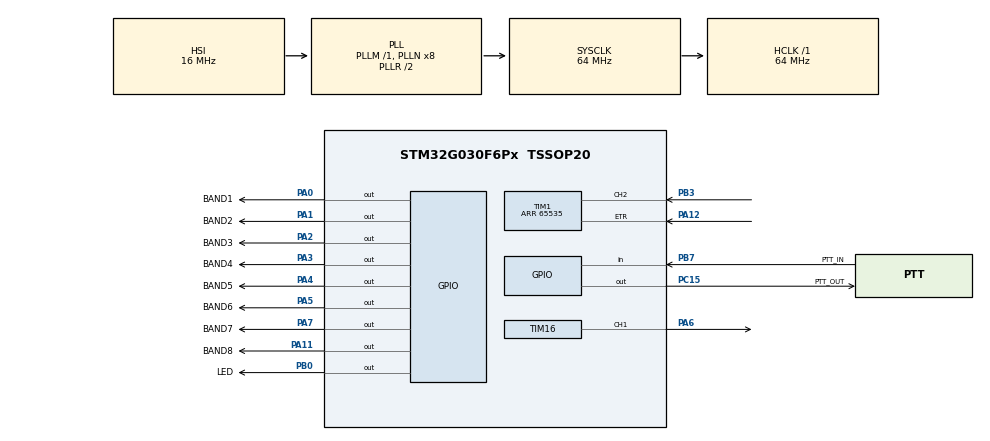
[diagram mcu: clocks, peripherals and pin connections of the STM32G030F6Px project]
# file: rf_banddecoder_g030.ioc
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Mcu.Family=STM32G0
Mcu.Name=STM32G030F6Px
Mcu.Package=TSSOP20
NVIC.TIM16_IRQn=true\:0\:0\:false\:false\:true\:true\:true\:true
NVIC.TIM17_IRQn=true\:0\:0\:false\:false\:true\:true\:true\:true
PA0.GPIO_Label=BAND1
PA0.Signal=GPIO_Output
PA1.GPIO_Label=BAND2
PA1.Signal=GPIO_Output
PA11\ [PA9].GPIO_Label=BAND8
PA11\ [PA9].Signal=GPIO_Output
PA12\ [PA10].Signal=S_TIM1_ETR
PA13.Mode=Serial_Wire
PA13.Signal=SYS_SWDIO
PA14-BOOT0.Mode=Serial_Wire
PA14-BOOT0.Signal=SYS_SWCLK
PA14-BOOT0__PA15.StandardMode=true
PA2.GPIO_Label=BAND3
PA2.Signal=GPIO_Output
PA3.GPIO_Label=BAND4
PA3.Signal=GPIO_Output
PA4.GPIO_Label=BAND5
PA4.Signal=GPIO_Output
PA5.GPIO_Label=BAND6
PA5.Signal=GPIO_Output
PA6.Signal=S_TIM16_CH1
PA7.GPIO_Label=BAND7
PA7.Signal=GPIO_Output
PB0.GPIO_Label=LED
PB0.Signal=GPIO_Output
PB0__PB1__PB2__PA8.StandardMode=true
PB3.Signal=S_TIM1_CH2
PB3__PB4__PB5__PB6.StandardMode=true
PB7.GPIO_Label=PTT_IN
PB7.GPIO_PuPd=GPIO_PULLUP
PB7.Signal=GPIO_Input
PB7__PB8.StandardMode=true
PC14-OSC32_IN\ (PC14).Mode=HSE-External-Clock-Source
PC14-OSC32_IN\ (PC14).Signal=RCC_OSC_IN
PC14-OSC32_IN\ (PC14)__PB9.StandardMode=true
PC15-OSC32_OUT\ (PC15).GPIO_Label=PTT_OUT
PC15-OSC32_OUT\ (PC15).Signal=GPIO_Output
ProjectManager.HeapSize=0x200
ProjectManager.StackSize=0x400
ProjectManager.TargetToolchain=STM32CubeIDE
RCC.ADCFreq_Value=64000000
RCC.AHBFreq_Value=64000000
RCC.CortexFreq_Value=64000000
RCC.EXTERNAL_CLOCK_VALUE=12288000
RCC.HCLKFreq_Value=64000000
RCC.HSE_VALUE=16000000
RCC.HSI_VALUE=16000000
RCC.LSE_VALUE=32768
RCC.SYSCLKFreq_VALUE=64000000
RCC.SYSCLKSource=RCC_SYSCLKSOURCE_PLLCLK
RCC.VCOOutputFreq_Value=128000000
SH.S_TIM16_CH1.0=TIM16_CH1,PWM Generation1 CH1
SH.S_TIM1_CH2.0=TIM1_CH2,TriggerSource_TI2FP2
SH.S_TIM1_ETR.0=TIM1_ETR,ClockSourceETR_Mode2
TIM1.Period=65535
TIM1.RepetitionCounter=0
TIM1.TIM_MasterOutputTrigger=TIM_TRGO_UPDATE
TIM1.TIM_MasterOutputTrigger2=TIM_TRGO2_RESET
TIM16.AutoReloadPreload=TIM_AUTORELOAD_PRELOAD_ENABLE
TIM16.Channel=TIM_CHANNEL_1
TIM16.OCIdleState_1=TIM_OCIDLESTATE_RESET
TIM16.OCPolarity_1=TIM_OCPOLARITY_HIGH
TIM16.Period=3
TIM16.Prescaler=63999
TIM16.Pulse=4
TIM17.AutoReloadPreload=TIM_AUTORELOAD_PRELOAD_ENABLE
TIM17.Period=499
TIM17.Prescaler=63999
VP_TIM16_VS_ClockSourceINT.Mode=Enable_Timer
VP_TIM17_VS_ClockSourceINT.Mode=Enable_Timer
VP_TIM1_VS_ControllerModeGated.Mode=Gated Mode
VP_TIM3_VS_ClockSourceINT.Mode=Internal
VP_TIM3_VS_ClockSourceITR.Mode=TriggerSource_ITR0
VP_TIM3_VS_ControllerModeGated.Mode=Gated Mode
board=custom

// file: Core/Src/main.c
/* USER CODE BEGIN Header */
/**
  ******************************************************************************
  * @file           : main.c
  * @brief          : Main program body
  ******************************************************************************
  * @attention
  *
  * Copyright (c) 2024 STMicroelectronics.
  * All rights reserved.
  *
  * This software is licensed under terms that can be found in the LICENSE file
  * in the root directory of this software component.
  * If no LICENSE file comes with this software, it is provided AS-IS.
  *
  ******************************************************************************
  */
/* USER CODE END Header */
#include "main.h"

/* USER CODE BEGIN Includes */
//#include "string.h"
#define samples 10

uint32_t freq = 0;
uint32_t freq_old1 = 0;
uint32_t freq_old2 = 0;
uint32_t freq_old3 = 0;
uint32_t current_freq = 0;
int count = 0;
int flag_band = 0;
int previous_flag_band = 0;
int flag_ptt = 0;

int raw[samples];
/* USER CODE END Includes */

TIM_HandleTypeDef htim1;
TIM_HandleTypeDef htim3;
TIM_HandleTypeDef htim16;

void SystemClock_Config(void);
static void MX_GPIO_Init(void);
static void MX_TIM1_Init(void);
static void MX_TIM3_Init(void);
static void MX_TIM16_Init(void);
static void MX_TIM17_Init(void);

/* USER CODE BEGIN 0 */

void SetBand() {
	if ((freq >= 9)||(freq <= 310)){
		if ((freq >= 9)&&(freq <= 29)) {flag_band=1; freq = 0; flag_ptt = 1;}
		if ((freq >= 30)&&(freq <= 45)) {flag_band=2; freq = 0; flag_ptt = 1;}
		if ((freq >= 65)&&(freq <= 75)) {flag_band=3; freq = 0; flag_ptt = 1;}
		if ((freq >= 90)&&(freq <= 110)) {flag_band=4; freq = 0; flag_ptt = 1;}
		if ((freq >= 130)&&(freq <=150)) {flag_band=5; freq = 0; flag_ptt = 1;}
		if ((freq >= 170)&&(freq <= 190)) {flag_band=6; freq = 0; flag_ptt = 1;}
		if ((freq >= 200)&&(freq <= 220)) {flag_band=7; freq = 0; flag_ptt = 1;}
		if ((freq >= 230)&&(freq <= 310)) {flag_band=8; freq = 0; flag_ptt = 1;}
		if ((freq >= 52)&&(freq <= 55)){ flag_band = 0; freq = 0; flag_ptt = 0;}
	}
	else { flag_band = 0; freq = 0; flag_ptt = 0;}

}

void ResetAllOuts(){
	LL_GPIO_ResetOutputPin(BAND1_GPIO_Port, BAND1_Pin);
	LL_GPIO_ResetOutputPin(BAND2_GPIO_Port, BAND2_Pin);
	LL_GPIO_ResetOutputPin(BAND3_GPIO_Port, BAND3_Pin);
	LL_GPIO_ResetOutputPin(BAND4_GPIO_Port, BAND4_Pin);
	LL_GPIO_ResetOutputPin(BAND5_GPIO_Port, BAND5_Pin);
	LL_GPIO_ResetOutputPin(BAND6_GPIO_Port, BAND6_Pin);
	LL_GPIO_ResetOutputPin(BAND7_GPIO_Port, BAND7_Pin);
	LL_GPIO_ResetOutputPin(BAND8_GPIO_Port, BAND8_Pin);
}

void TestOuts(){
	LL_GPIO_SetOutputPin(BAND1_GPIO_Port, BAND1_Pin);
	LL_mDelay(200);
	LL_GPIO_SetOutputPin(BAND2_GPIO_Port, BAND2_Pin);
	LL_mDelay(200);
	LL_GPIO_SetOutputPin(BAND3_GPIO_Port, BAND3_Pin);
	LL_mDelay(200);
	LL_GPIO_SetOutputPin(BAND4_GPIO_Port, BAND4_Pin);
	LL_mDelay(200);
	LL_GPIO_SetOutputPin(BAND5_GPIO_Port, BAND5_Pin);
	LL_mDelay(200);
	LL_GPIO_SetOutputPin(BAND6_GPIO_Port, BAND6_Pin);
	LL_mDelay(200);
	LL_GPIO_SetOutputPin(BAND7_GPIO_Port, BAND7_Pin);
	LL_mDelay(200);
	LL_GPIO_SetOutputPin(BAND8_GPIO_Port, BAND8_Pin);
	LL_mDelay(200);
	LL_GPIO_SetOutputPin(PTT_OUT_GPIO_Port, PTT_OUT_Pin);
	LL_mDelay(200);
	LL_GPIO_ResetOutputPin(PTT_OUT_GPIO_Port, PTT_OUT_Pin);
	ResetAllOuts();
}

void HAL_TIM_PeriodElapsedCallback(TIM_HandleTypeDef *htim) {
	//static int z=0;
	if ((htim == &htim16)
			&& (LL_GPIO_IsInputPinSet(PTT_IN_GPIO_Port, PTT_IN_Pin) == 0)) {
		HAL_TIM_PWM_Stop(&htim16, TIM_CHANNEL_1);
		uint16_t count_main = __HAL_TIM_GET_COUNTER(&htim1);
		uint16_t count_secondary = __HAL_TIM_GET_COUNTER(&htim3);
		uint16_t arr = __HAL_TIM_GET_AUTORELOAD(&htim1);
		uint32_t freq_raw = count_main + (count_secondary * (arr + 1));
		current_freq = (freq_raw >> 2) / 100;
		if (current_freq >= 1)
			count++;
		else
			count = 0;
		if (count == 1) {
			if (current_freq > freq_old1) {
				freq_old1 = current_freq;
			}
		}
		if (count == 2) {
			if (current_freq > freq_old2) {
				freq_old2 = current_freq;
			}
		}
		if (count == 3) {
			count = 0;
			if (current_freq > freq_old3) {
				freq_old3 = current_freq;

			}
		}
		if ((freq_old1 == freq_old2) && (freq_old2 == freq_old3)) {
			freq = freq_old1;
			SetBand();
		}
		if (current_freq < freq_old1)
			freq_old1 = freq_old2 = freq_old3 = 0;

		__HAL_TIM_SET_COUNTER(&htim1, 0x0000);
		__HAL_TIM_SET_COUNTER(&htim3, 0x0000);
		HAL_TIM_PWM_Start(&htim16, TIM_CHANNEL_1);
	} else {flag_ptt=0;}
}

void SetOuts() {
	if (flag_band == 1) {	//160
		ResetAllOuts();
		LL_GPIO_SetOutputPin(BAND1_GPIO_Port, BAND1_Pin);
	}
	if (flag_band == 2) {	//80
		ResetAllOuts();
		LL_GPIO_SetOutputPin(BAND2_GPIO_Port, BAND2_Pin);
	}
	if (flag_band == 3) {	//40
		ResetAllOuts();
		LL_GPIO_SetOutputPin(BAND3_GPIO_Port, BAND3_Pin);
	}
	if (flag_band == 4) {	//30
		ResetAllOuts();
		LL_GPIO_SetOutputPin(BAND4_GPIO_Port, BAND4_Pin);
	}
	if (flag_band == 5) {	//20
		ResetAllOuts();
		LL_GPIO_SetOutputPin(BAND5_GPIO_Port, BAND5_Pin);
	}
	if (flag_band == 6) {	//17
		ResetAllOuts();
		LL_GPIO_SetOutputPin(BAND6_GPIO_Port, BAND6_Pin);
	}
	if (flag_band == 7) {	//15
		ResetAllOuts();
		LL_GPIO_SetOutputPin(BAND7_GPIO_Port, BAND7_Pin);
	}
	if (flag_band == 8) {	//12-11-10
		ResetAllOuts();
		LL_GPIO_SetOutputPin(BAND8_GPIO_Port, BAND8_Pin);
	}
	if (flag_band == 0) {	//bypass
		flag_ptt = 0;
		ResetAllOuts();
	}

}

void SetOutABCD() {             //используются пины 1, 2, 3, 4 в качестве ABCD и дублируются 5, 6, 7, 8
	if (flag_band == 1) {	//160
		ResetAllOuts();
		LL_GPIO_SetOutputPin(BAND1_GPIO_Port, BAND1_Pin);
		LL_GPIO_SetOutputPin(BAND5_GPIO_Port, BAND5_Pin);
	}
	if (flag_band == 2) {	//80
		ResetAllOuts();
		LL_GPIO_SetOutputPin(BAND2_GPIO_Port, BAND2_Pin);
		LL_GPIO_SetOutputPin(BAND6_GPIO_Port, BAND6_Pin);
	}
	if (flag_band == 3) {	//40
		ResetAllOuts();
		LL_GPIO_SetOutputPin(BAND1_GPIO_Port, BAND1_Pin);
		LL_GPIO_SetOutputPin(BAND2_GPIO_Port, BAND2_Pin);
		LL_GPIO_SetOutputPin(BAND5_GPIO_Port, BAND5_Pin);
		LL_GPIO_SetOutputPin(BAND6_GPIO_Port, BAND6_Pin);
	}
	if (flag_band == 4) {	//30
		ResetAllOuts();
		LL_GPIO_SetOutputPin(BAND3_GPIO_Port, BAND3_Pin);
		LL_GPIO_SetOutputPin(BAND7_GPIO_Port, BAND7_Pin);
	}
	if (flag_band == 5) {	//20
		ResetAllOuts();
		LL_GPIO_SetOutputPin(BAND1_GPIO_Port, BAND1_Pin);
		LL_GPIO_SetOutputPin(BAND3_GPIO_Port, BAND3_Pin);
		LL_GPIO_SetOutputPin(BAND5_GPIO_Port, BAND5_Pin);
		LL_GPIO_SetOutputPin(BAND7_GPIO_Port, BAND7_Pin);
	}
	if (flag_band == 6) {	//17
		ResetAllOuts();
		LL_GPIO_SetOutputPin(BAND2_GPIO_Port, BAND2_Pin);
		LL_GPIO_SetOutputPin(BAND3_GPIO_Port, BAND3_Pin);
		LL_GPIO_SetOutputPin(BAND6_GPIO_Port, BAND6_Pin);
		LL_GPIO_SetOutputPin(BAND7_GPIO_Port, BAND7_Pin);
	}
	if (flag_band == 7) {	//15
		ResetAllOuts();
		LL_GPIO_SetOutputPin(BAND1_GPIO_Port, BAND1_Pin);
		LL_GPIO_SetOutputPin(BAND2_GPIO_Port, BAND2_Pin);
		LL_GPIO_SetOutputPin(BAND3_GPIO_Port, BAND3_Pin);
		LL_GPIO_SetOutputPin(BAND5_GPIO_Port, BAND5_Pin);
		LL_GPIO_SetOutputPin(BAND6_GPIO_Port, BAND6_Pin);
		LL_GPIO_SetOutputPin(BAND7_GPIO_Port, BAND7_Pin);
	}
	if (flag_band == 8) {	//12-11-10
		ResetAllOuts();
		LL_GPIO_SetOutputPin(BAND1_GPIO_Port, BAND1_Pin);
		LL_GPIO_SetOutputPin(BAND4_GPIO_Port, BAND4_Pin);
		LL_GPIO_SetOutputPin(BAND5_GPIO_Port, BAND5_Pin);
		LL_GPIO_SetOutputPin(BAND8_GPIO_Port, BAND8_Pin);
	}
	if (flag_band == 0) {	//bypass
		flag_ptt = 0;
		ResetAllOuts();
	}

}

void CheckPTT() {

	if ((LL_GPIO_IsInputPinSet(PTT_IN_GPIO_Port, PTT_IN_Pin) == 0)&&(flag_ptt)) {
		LL_mDelay(10);
		LL_GPIO_SetOutputPin(PTT_OUT_GPIO_Port, PTT_OUT_Pin);
	} else {
		LL_GPIO_ResetOutputPin(PTT_OUT_GPIO_Port, PTT_OUT_Pin);
		flag_ptt  = 0;
	}
}

/* USER CODE END 0 */

int main(void)
{

  /* MCU Configuration--------------------------------------------------------*/

  /* Reset of all peripherals, Initializes the Flash interface and the Systick. */
  HAL_Init();

  /* Configure the system clock */
  SystemClock_Config();

  /* Initialize all configured peripherals */
  MX_GPIO_Init();
  MX_TIM1_Init();
  MX_TIM3_Init();
  MX_TIM16_Init();
  MX_TIM17_Init();
  /* USER CODE BEGIN 2 */
  LL_TIM_EnableCounter(TIM17);
  LL_TIM_EnableIT_UPDATE(TIM17);
  //TestOuts();
  HAL_TIM_Base_Start_IT(&htim16);
  HAL_TIM_PWM_Start(&htim16, TIM_CHANNEL_1);
  HAL_TIM_Base_Start(&htim1);
  HAL_TIM_Base_Start(&htim3);

  /* USER CODE END 2 */

  /* Infinite loop */
  /* USER CODE BEGIN WHILE */
  while (1)
  {
	  //SetBand();
	  SetOutABCD();
	  CheckPTT();
    /* USER CODE END WHILE */

  }
}

void SystemClock_Config(void)
{
  RCC_OscInitTypeDef RCC_OscInitStruct = {0};
  RCC_ClkInitTypeDef RCC_ClkInitStruct = {0};

  /** Configure the main internal regulator output voltage
  */
  HAL_PWREx_ControlVoltageScaling(PWR_REGULATOR_VOLTAGE_SCALE1);

  /** Initializes the RCC Oscillators according to the specified parameters
  * in the RCC_OscInitTypeDef structure.
  */
  RCC_OscInitStruct.OscillatorType = RCC_OSCILLATORTYPE_HSI;
  RCC_OscInitStruct.HSIState = RCC_HSI_ON;
  RCC_OscInitStruct.HSIDiv = RCC_HSI_DIV1;
  RCC_OscInitStruct.HSICalibrationValue = RCC_HSICALIBRATION_DEFAULT;
  RCC_OscInitStruct.PLL.PLLState = RCC_PLL_ON;
  RCC_OscInitStruct.PLL.PLLSource = RCC_PLLSOURCE_HSI;
  RCC_OscInitStruct.PLL.PLLM = RCC_PLLM_DIV1;
  RCC_OscInitStruct.PLL.PLLN = 8;
  RCC_OscInitStruct.PLL.PLLP = RCC_PLLP_DIV2;
  RCC_OscInitStruct.PLL.PLLR = RCC_PLLR_DIV2;
  if (HAL_RCC_OscConfig(&RCC_OscInitStruct) != HAL_OK)
  {
    Error_Handler();
  }

  /** Initializes the CPU, AHB and APB buses clocks
  */
  RCC_ClkInitStruct.ClockType = RCC_CLOCKTYPE_HCLK|RCC_CLOCKTYPE_SYSCLK
                              |RCC_CLOCKTYPE_PCLK1;
  RCC_ClkInitStruct.SYSCLKSource = RCC_SYSCLKSOURCE_PLLCLK;
  RCC_ClkInitStruct.AHBCLKDivider = RCC_SYSCLK_DIV1;
  RCC_ClkInitStruct.APB1CLKDivider = RCC_HCLK_DIV1;

  if (HAL_RCC_ClockConfig(&RCC_ClkInitStruct, FLASH_LATENCY_2) != HAL_OK)
  {
    Error_Handler();
  }
}

static void MX_TIM1_Init(void)
{

  TIM_ClockConfigTypeDef sClockSourceConfig = {0};
  TIM_SlaveConfigTypeDef sSlaveConfig = {0};
  TIM_MasterConfigTypeDef sMasterConfig = {0};

  htim1.Instance = TIM1;
  htim1.Init.Prescaler = 0;
  htim1.Init.CounterMode = TIM_COUNTERMODE_UP;
  htim1.Init.Period = 65535;
  htim1.Init.ClockDivision = TIM_CLOCKDIVISION_DIV1;
  htim1.Init.RepetitionCounter = 0;
  htim1.Init.AutoReloadPreload = TIM_AUTORELOAD_PRELOAD_DISABLE;
  if (HAL_TIM_Base_Init(&htim1) != HAL_OK)
  {
    Error_Handler();
  }
  sClockSourceConfig.ClockSource = TIM_CLOCKSOURCE_ETRMODE2;
  sClockSourceConfig.ClockPolarity = TIM_CLOCKPOLARITY_NONINVERTED;
  sClockSourceConfig.ClockPrescaler = TIM_CLOCKPRESCALER_DIV1;
  sClockSourceConfig.ClockFilter = 0;
  if (HAL_TIM_ConfigClockSource(&htim1, &sClockSourceConfig) != HAL_OK)
  {
    Error_Handler();
  }
  sSlaveConfig.SlaveMode = TIM_SLAVEMODE_GATED;
  sSlaveConfig.InputTrigger = TIM_TS_TI2FP2;
  sSlaveConfig.TriggerPolarity = TIM_TRIGGERPOLARITY_RISING;
  sSlaveConfig.TriggerFilter = 0;
  if (HAL_TIM_SlaveConfigSynchro(&htim1, &sSlaveConfig) != HAL_OK)
  {
    Error_Handler();
  }
  sMasterConfig.MasterOutputTrigger = TIM_TRGO_UPDATE;
  sMasterConfig.MasterOutputTrigger2 = TIM_TRGO2_RESET;
  sMasterConfig.MasterSlaveMode = TIM_MASTERSLAVEMODE_DISABLE;
  if (HAL_TIMEx_MasterConfigSynchronization(&htim1, &sMasterConfig) != HAL_OK)
  {
    Error_Handler();
  }

}

static void MX_TIM3_Init(void)
{

  TIM_ClockConfigTypeDef sClockSourceConfig = {0};
  TIM_SlaveConfigTypeDef sSlaveConfig = {0};
  TIM_MasterConfigTypeDef sMasterConfig = {0};

  htim3.Instance = TIM3;
  htim3.Init.Prescaler = 0;
  htim3.Init.CounterMode = TIM_COUNTERMODE_UP;
  htim3.Init.Period = 65535;
  htim3.Init.ClockDivision = TIM_CLOCKDIVISION_DIV1;
  htim3.Init.AutoReloadPreload = TIM_AUTORELOAD_PRELOAD_DISABLE;
  if (HAL_TIM_Base_Init(&htim3) != HAL_OK)
  {
    Error_Handler();
  }
  sClockSourceConfig.ClockSource = TIM_CLOCKSOURCE_INTERNAL;
  if (HAL_TIM_ConfigClockSource(&htim3, &sClockSourceConfig) != HAL_OK)
  {
    Error_Handler();
  }
  sSlaveConfig.SlaveMode = TIM_SLAVEMODE_GATED;
  sSlaveConfig.InputTrigger = TIM_TS_ITR0;
  if (HAL_TIM_SlaveConfigSynchro(&htim3, &sSlaveConfig) != HAL_OK)
  {
    Error_Handler();
  }
  sMasterConfig.MasterOutputTrigger = TIM_TRGO_RESET;
  sMasterConfig.MasterSlaveMode = TIM_MASTERSLAVEMODE_DISABLE;
  if (HAL_TIMEx_MasterConfigSynchronization(&htim3, &sMasterConfig) != HAL_OK)
  {
    Error_Handler();
  }

}

static void MX_TIM16_Init(void)
{

  TIM_OC_InitTypeDef sConfigOC = {0};
  TIM_BreakDeadTimeConfigTypeDef sBreakDeadTimeConfig = {0};

  htim16.Instance = TIM16;
  htim16.Init.Prescaler = 63999;
  htim16.Init.CounterMode = TIM_COUNTERMODE_UP;
  htim16.Init.Period = 3;
  htim16.Init.ClockDivision = TIM_CLOCKDIVISION_DIV1;
  htim16.Init.RepetitionCounter = 0;
  htim16.Init.AutoReloadPreload = TIM_AUTORELOAD_PRELOAD_ENABLE;
  if (HAL_TIM_Base_Init(&htim16) != HAL_OK)
  {
    Error_Handler();
  }
  if (HAL_TIM_PWM_Init(&htim16) != HAL_OK)
  {
    Error_Handler();
  }
  sConfigOC.OCMode = TIM_OCMODE_PWM1;
  sConfigOC.Pulse = 4;
  sConfigOC.OCPolarity = TIM_OCPOLARITY_HIGH;
  sConfigOC.OCNPolarity = TIM_OCNPOLARITY_HIGH;
  sConfigOC.OCFastMode = TIM_OCFAST_DISABLE;
  sConfigOC.OCIdleState = TIM_OCIDLESTATE_RESET;
  sConfigOC.OCNIdleState = TIM_OCNIDLESTATE_RESET;
  if (HAL_TIM_PWM_ConfigChannel(&htim16, &sConfigOC, TIM_CHANNEL_1) != HAL_OK)
  {
    Error_Handler();
  }
  sBreakDeadTimeConfig.OffStateRunMode = TIM_OSSR_DISABLE;
  sBreakDeadTimeConfig.OffStateIDLEMode = TIM_OSSI_DISABLE;
  sBreakDeadTimeConfig.LockLevel = TIM_LOCKLEVEL_OFF;
  sBreakDeadTimeConfig.DeadTime = 0;
  sBreakDeadTimeConfig.BreakState = TIM_BREAK_DISABLE;
  sBreakDeadTimeConfig.BreakPolarity = TIM_BREAKPOLARITY_HIGH;
  sBreakDeadTimeConfig.BreakFilter = 0;
  sBreakDeadTimeConfig.AutomaticOutput = TIM_AUTOMATICOUTPUT_DISABLE;
  if (HAL_TIMEx_ConfigBreakDeadTime(&htim16, &sBreakDeadTimeConfig) != HAL_OK)
  {
    Error_Handler();
  }
  HAL_TIM_MspPostInit(&htim16);

}

static void MX_TIM17_Init(void)
{

  LL_TIM_InitTypeDef TIM_InitStruct = {0};

  /* Peripheral clock enable */
  LL_APB2_GRP1_EnableClock(LL_APB2_GRP1_PERIPH_TIM17);

  /* TIM17 interrupt Init */
  NVIC_SetPriority(TIM17_IRQn, 0);
  NVIC_EnableIRQ(TIM17_IRQn);

  TIM_InitStruct.Prescaler = 63999;
  TIM_InitStruct.CounterMode = LL_TIM_COUNTERMODE_UP;
  TIM_InitStruct.Autoreload = 499;
  TIM_InitStruct.ClockDivision = LL_TIM_CLOCKDIVISION_DIV1;
  TIM_InitStruct.RepetitionCounter = 0;
  LL_TIM_Init(TIM17, &TIM_InitStruct);
  LL_TIM_EnableARRPreload(TIM17);

}

static void MX_GPIO_Init(void)
{
  LL_GPIO_InitTypeDef GPIO_InitStruct = {0};

  /* GPIO Ports Clock Enable */
  LL_IOP_GRP1_EnableClock(LL_IOP_GRP1_PERIPH_GPIOB);
  LL_IOP_GRP1_EnableClock(LL_IOP_GRP1_PERIPH_GPIOC);
  LL_IOP_GRP1_EnableClock(LL_IOP_GRP1_PERIPH_GPIOA);

  /**/
  LL_GPIO_ResetOutputPin(PTT_OUT_GPIO_Port, PTT_OUT_Pin);

  /**/
  LL_GPIO_ResetOutputPin(BAND1_GPIO_Port, BAND1_Pin);

  /**/
  LL_GPIO_ResetOutputPin(BAND2_GPIO_Port, BAND2_Pin);

  /**/
  LL_GPIO_ResetOutputPin(BAND3_GPIO_Port, BAND3_Pin);

  /**/
  LL_GPIO_ResetOutputPin(BAND4_GPIO_Port, BAND4_Pin);

  /**/
  LL_GPIO_ResetOutputPin(BAND5_GPIO_Port, BAND5_Pin);

  /**/
  LL_GPIO_ResetOutputPin(BAND6_GPIO_Port, BAND6_Pin);

  /**/
  LL_GPIO_ResetOutputPin(BAND7_GPIO_Port, BAND7_Pin);

  /**/
  LL_GPIO_ResetOutputPin(LED_GPIO_Port, LED_Pin);

  /**/
  LL_GPIO_ResetOutputPin(BAND8_GPIO_Port, BAND8_Pin);

  /**/
  GPIO_InitStruct.Pin = PTT_IN_Pin;
  GPIO_InitStruct.Mode = LL_GPIO_MODE_INPUT;
  GPIO_InitStruct.Pull = LL_GPIO_PULL_UP;
  LL_GPIO_Init(PTT_IN_GPIO_Port, &GPIO_InitStruct);

  /**/
  GPIO_InitStruct.Pin = PTT_OUT_Pin;
  GPIO_InitStruct.Mode = LL_GPIO_MODE_OUTPUT;
  GPIO_InitStruct.Speed = LL_GPIO_SPEED_FREQ_LOW;
  GPIO_InitStruct.OutputType = LL_GPIO_OUTPUT_PUSHPULL;
  GPIO_InitStruct.Pull = LL_GPIO_PULL_NO;
  LL_GPIO_Init(PTT_OUT_GPIO_Port, &GPIO_InitStruct);

  /**/
  GPIO_InitStruct.Pin = BAND1_Pin;
  GPIO_InitStruct.Mode = LL_GPIO_MODE_OUTPUT;
  GPIO_InitStruct.Speed = LL_GPIO_SPEED_FREQ_LOW;
  GPIO_InitStruct.OutputType = LL_GPIO_OUTPUT_PUSHPULL;
  GPIO_InitStruct.Pull = LL_GPIO_PULL_NO;
  LL_GPIO_Init(BAND1_GPIO_Port, &GPIO_InitStruct);

  /**/
  GPIO_InitStruct.Pin = BAND2_Pin;
  GPIO_InitStruct.Mode = LL_GPIO_MODE_OUTPUT;
  GPIO_InitStruct.Speed = LL_GPIO_SPEED_FREQ_LOW;
  GPIO_InitStruct.OutputType = LL_GPIO_OUTPUT_PUSHPULL;
  GPIO_InitStruct.Pull = LL_GPIO_PULL_NO;
  LL_GPIO_Init(BAND2_GPIO_Port, &GPIO_InitStruct);

  /**/
  GPIO_InitStruct.Pin = BAND3_Pin;
  GPIO_InitStruct.Mode = LL_GPIO_MODE_OUTPUT;
  GPIO_InitStruct.Speed = LL_GPIO_SPEED_FREQ_LOW;
  GPIO_InitStruct.OutputType = LL_GPIO_OUTPUT_PUSHPULL;
  GPIO_InitStruct.Pull = LL_GPIO_PULL_NO;
  LL_GPIO_Init(BAND3_GPIO_Port, &GPIO_InitStruct);

  /**/
  GPIO_InitStruct.Pin = BAND4_Pin;
  GPIO_InitStruct.Mode = LL_GPIO_MODE_OUTPUT;
  GPIO_InitStruct.Speed = LL_GPIO_SPEED_FREQ_LOW;
  GPIO_InitStruct.OutputType = LL_GPIO_OUTPUT_PUSHPULL;
  GPIO_InitStruct.Pull = LL_GPIO_PULL_NO;
  LL_GPIO_Init(BAND4_GPIO_Port, &GPIO_InitStruct);

  /**/
  GPIO_InitStruct.Pin = BAND5_Pin;
  GPIO_InitStruct.Mode = LL_GPIO_MODE_OUTPUT;
  GPIO_InitStruct.Speed = LL_GPIO_SPEED_FREQ_LOW;
  GPIO_InitStruct.OutputType = LL_GPIO_OUTPUT_PUSHPULL;
  GPIO_InitStruct.Pull = LL_GPIO_PULL_NO;
  LL_GPIO_Init(BAND5_GPIO_Port, &GPIO_InitStruct);

  /**/
  GPIO_InitStruct.Pin = BAND6_Pin;
  GPIO_InitStruct.Mode = LL_GPIO_MODE_OUTPUT;
  GPIO_InitStruct.Speed = LL_GPIO_SPEED_FREQ_LOW;
  GPIO_InitStruct.OutputType = LL_GPIO_OUTPUT_PUSHPULL;
  GPIO_InitStruct.Pull = LL_GPIO_PULL_NO;
  LL_GPIO_Init(BAND6_GPIO_Port, &GPIO_InitStruct);

  /**/
  GPIO_InitStruct.Pin = BAND7_Pin;
  GPIO_InitStruct.Mode = LL_GPIO_MODE_OUTPUT;
  GPIO_InitStruct.Speed = LL_GPIO_SPEED_FREQ_LOW;
  GPIO_InitStruct.OutputType = LL_GPIO_OUTPUT_PUSHPULL;
  GPIO_InitStruct.Pull = LL_GPIO_PULL_NO;
  LL_GPIO_Init(BAND7_GPIO_Port, &GPIO_InitStruct);

  /**/
  GPIO_InitStruct.Pin = LED_Pin;
  GPIO_InitStruct.Mode = LL_GPIO_MODE_OUTPUT;
  GPIO_InitStruct.Speed = LL_GPIO_SPEED_FREQ_LOW;
  GPIO_InitStruct.OutputType = LL_GPIO_OUTPUT_PUSHPULL;
  GPIO_InitStruct.Pull = LL_GPIO_PULL_NO;
  LL_GPIO_Init(LED_GPIO_Port, &GPIO_InitStruct);

  /**/
  GPIO_InitStruct.Pin = BAND8_Pin;
  GPIO_InitStruct.Mode = LL_GPIO_MODE_OUTPUT;
  GPIO_InitStruct.Speed = LL_GPIO_SPEED_FREQ_LOW;
  GPIO_InitStruct.OutputType = LL_GPIO_OUTPUT_PUSHPULL;
  GPIO_InitStruct.Pull = LL_GPIO_PULL_NO;
  LL_GPIO_Init(BAND8_GPIO_Port, &GPIO_InitStruct);

}

void Error_Handler(void)
{
  __disable_irq();
  while (1)
  {
  }
}
